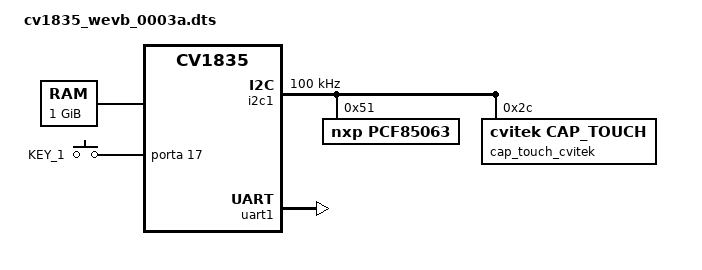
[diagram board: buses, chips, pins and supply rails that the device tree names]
#include "cv1835_asic.dtsi"
#include <dt-bindings/input/input.h>

/ {
	memory {
		reg = <0x1 0x00000000 0x0 0x40000000>; // 1GB
		device_type = "memory";
	};

	reserved-memory {
	  #size-cells = <0x2>;
	  #address-cells = <0x2>;
	  ranges;

		cma_reserved: linux,cma {
			compatible = "shared-dma-pool";
			reusable;
			size = <0x0 0x600000>; // 6MB
			alignment = <0x0 0x200000>; // 2MB
			linux,cma-default;
		};

		ion_reserved: ion {
			compatible = "ion-region";
			size = <0x0 0x1C000000>; //352MB + vip 96MB
		};

		vcodec_reserved: vcodec {
			alloc-ranges = <0x1 0x00000000 0 0xF0000000>;
			size = <0x0 0x00180000>; // 1.5MB
			no-map;
		};
	};

	/delete-node/ cvi-spif@10000000;
	/delete-node/ cv-spinf@4060000;
	/delete-node/ wifi-sd@4320000;
	/delete-node/ i2c@04010000;
	/delete-node/ i2c@04020000;
	/delete-node/ ethernet@04520000;
	/delete-node/ i2s@04110000;
	/delete-node/ i2s@04120000;
	/delete-node/ sound_ext1;
	/delete-node/ sound_ext2;
	/delete-node/ sound_PDM;

	aliases {
		/delete-property/ ethernet1;
	};

	i2c1: i2c@04010000 {
		compatible = "snps,designware-i2c";
		clocks = <&clk CV1835_CLK_I2C>;
		reg = <0x0 0x04010000 0x0 0x1000>;
		interrupts = <GIC_SPI 73 IRQ_TYPE_LEVEL_HIGH>;
		clock-frequency = <100000>;

		#size-cells = <0x0>;
		#address-cells = <0x1>;
		resets = <&rst RST_I2C1>;
		reset-names = "i2c1";

		pcf85063: pcf85063@0x51 {
			compatible = "nxp,pcf85063";
			reg = <0x51>;
		};
		cap_touch_cvitek:cap_touch@2c {
			compatible = "cvitek,cap_touch";
			reg = <0x2c>;
			status = "okay";
		};
	};

	uart1: serial@04150000 {
		compatible = "snps,dw-apb-uart";
		reg = <0x0 0x04150000 0x0 0x1000>;
		clock-frequency = <25000000>;
		interrupts = <GIC_SPI 12 IRQ_TYPE_LEVEL_HIGH>;
		reg-shift = <2>;
		reg-io-width = <4>;
	};

	gpio-keys {
		compatible = "gpio-keys";
		#address-cells = <1>;
		#size-cells = <0>;

		key_1 {
			label = "KEY_1";
			gpios = <&porta 17 GPIO_ACTIVE_HIGH>;
			linux,code = <KEY_1>;
		};
	};
};

